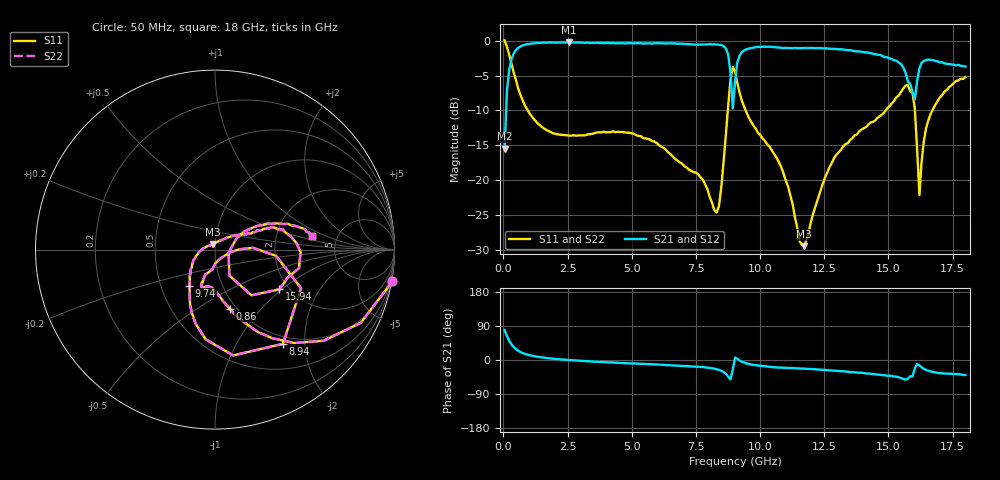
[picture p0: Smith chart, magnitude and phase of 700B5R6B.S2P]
!  American Technical Ceramics  Date:  3/13/98
!  One Norden Lane
!  Huntington Station,  NY.  11746-2102
!  Tel:  (516) 547-5700  Fax:  (516) 547-5748
!  Part Number  700B5R6B
!  Description: Porcelain, High Q, Low ESR
!  Application: Bypass, Coupling, Timing, Feedback
!  Tuning, Impedance Match, Blocking
# GHZ S DB R 50
! Freq  |S11|  S11 Ph  |S21|  S21 Ph  |S12|  S12 Ph  |S22|  S22 Ph
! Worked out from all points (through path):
!   201 points, 50 MHz to 18 GHz, reference 50 ohm
!   highest |S21| = -0.23 dB at 2.56 GHz (marker M1); lowest = -15.5 dB at 50 MHz (marker M2)
!   lowest |S11| = -29.5 dB at 11.72 GHz (marker M3), VSWR 1.07, Z = 48.9 + j3.12 ohm
!   |S11| at or under -10 dB: 951.7 MHz to 8.745 GHz (7.793 GHz wide, 161 % of centre); 9.44 GHz to 14.9 GHz (5.458 GHz wide, 44.9 % of centre); 16.03 GHz to 16.71 GHz (680.3 MHz wide, 4.15 % of centre)
!   |S22| runs from -29.5 to 0.0 dB; largest |S21 - S12| = 0
!   S11 on the Smith chart (normalised r, x): 50 MHz: -0, -11; 860 MHz: 0.93, -0.69; 8.94 GHz: 0.88, -1.59; 9.74 GHz: 0.70, -0.30; 15.94 GHz: 1.79, -0.96; 18 GHz: 3.26, +0.71
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0.05  0.04 -10.1  -15.51 78.9  -15.51 78.9  0.04 -10.1
0.23  -2.04 -39.9  -4.18 50.7  -4.18 50.7  -2.04 -39.9
0.86  -9.41 -76.2  -0.57 15.8  -0.57 15.8  -9.41 -76.2
2.56  -13.60 -98.0  -0.23 -0.2  -0.23 -0.2  -13.60 -98.0
3.1  -13.60 -102.6  -0.27 -2.3  -0.27 -2.3  -13.60 -102.6
6.06  -14.97 -110.4  -0.36 -12.2  -0.36 -12.2  -14.97 -110.4
8.31  -24.64 -51.0  -0.55 -24.4  -0.55 -24.4  -24.64 -51.0
8.76  -9.31 -5.8  -1.99 -43.9  -1.99 -43.9  -9.31 -5.8
8.94  -3.78 -54.2  -9.71 -24.8  -9.71 -24.8  -3.78 -54.2
9.03  -4.46 -80.2  -5.78 6.5  -5.78 6.5  -4.46 -80.2
9.29  -8.60 -110.5  -1.65 -4.6  -1.65 -4.6  -8.60 -110.5
9.74  -12.16 -125.5  -1.00 -12.6  -1.00 -12.6  -12.16 -125.5
10.82  -18.10 -156.1  -1.02 -20.1  -1.02 -20.1  -18.10 -156.1
11.72  -29.48 108.1  -1.04 -23.0  -1.04 -23.0  -29.48 108.1
12.08  -24.68 59.8  -1.04 -24.3  -1.04 -24.3  -24.68 59.8
12.97  -16.36 32.3  -1.18 -28.4  -1.18 -28.4  -16.36 32.3
15.04  -9.41 21.8  -2.53 -41.5  -2.53 -41.5  -9.41 21.8
15.94  -7.50 -31.7  -7.29 -43.0  -7.29 -43.0  -7.50 -31.7
16.21  -22.16 -12.7  -3.95 -14.0  -3.95 -14.0  -22.16 -12.7
16.38  -14.45 31.7  -2.89 -23.0  -2.89 -23.0  -14.45 31.7
16.65  -10.47 27.3  -2.76 -30.2  -2.76 -30.2  -10.47 27.3
18  -5.22 8.0  -3.70 -39.6  -3.70 -39.6  -5.22 8.0
